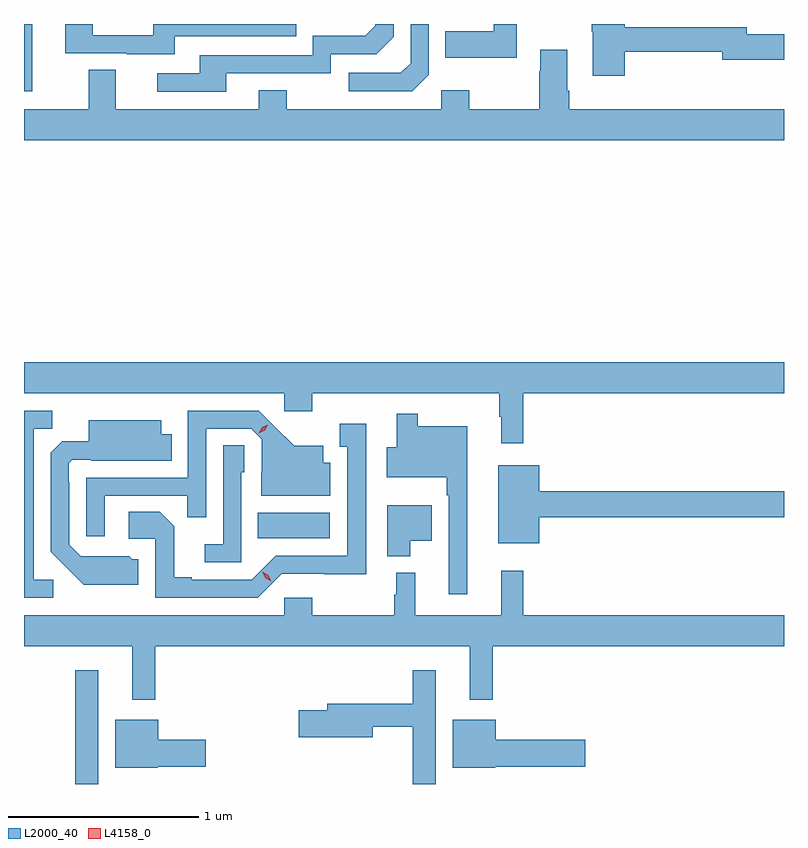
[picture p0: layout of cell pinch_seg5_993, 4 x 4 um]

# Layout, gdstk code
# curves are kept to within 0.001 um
import gdstk
lib = gdstk.Library(unit=1e-6, precision=1e-09)
def R(c, l, rs):  # rectangles x0, y0, x1, y1
    for r in rs: c.add(gdstk.rectangle(r[:2], r[2:], *l))
def P(c, l, *ps):  # polygons
    for p in ps: c.add(gdstk.Polygon(p, *l))
L2000_40 = (2000, 40)
L4158_0 = (4158, 0)

pinch_seg5_993 = lib.new_cell('pinch_seg5_993')
R(pinch_seg5_993, L2000_40, [(694.296,837.388,694.417,837.988), (695.254,838.682,695.635,838.816), (694.025,841.035,694.069,841.388)])
P(pinch_seg5_993, L2000_40, [(697.187,841.242),(697.7,841.242),(697.7,841.199),(698.025,841.199),(698.025,841.334),(697.828,841.334),(697.828,841.37),(697.187,841.37),(697.187,841.388),(697.012,841.388),(697.012,841.347),(697.019,841.347),(697.019,841.116),(697.187,841.116)],
  [(696.156,841.122),(696.156,841.388),(696.06,841.388),(696.06,841.182),(696.009,841.131),(695.733,841.131),(695.733,841.035),(696.069,841.035)],
  [(696.619,841.388),(696.498,841.388),(696.498,841.351),(696.241,841.351),(696.241,841.211),(696.619,841.211)],
  [(694.819,841.323),(695.459,841.323),(695.459,841.388),(694.704,841.388),(694.704,841.329),(694.386,841.329),(694.386,841.388),(694.241,841.388),(694.241,841.233),(694.565,841.233),(694.565,841.229),(694.819,841.229)],
  [(695.089,841.128),(695.64,841.128),(695.64,841.23),(695.88,841.23),(695.97,841.32),(695.97,841.388),(695.874,841.388),(695.874,841.38),(695.821,841.327),(695.544,841.327),(695.544,841.224),(694.949,841.224),(694.949,841.128),(694.725,841.128),(694.725,841.032),(695.089,841.032)],
  [(698.025,840.94),(696.896,840.94),(696.896,841.036),(696.883,841.036),(696.883,841.252),(696.743,841.252),(696.743,841.139),(696.736,841.139),(696.736,840.94),(696.369,840.94),(696.369,841.039),(696.222,841.039),(696.222,840.94),(695.409,840.94),(695.409,841.039),(695.261,841.039),(695.261,840.94),(694.507,840.94),(694.507,841.148),(694.367,841.148),(694.367,840.94),(694.025,840.94),(694.025,840.776),(698.025,840.776)],
  [(696.653,839.444),(698.025,839.444),(698.025,839.608),(694.025,839.608),(694.025,839.444),(695.394,839.444),(695.394,839.349),(695.541,839.349),(695.541,839.444),(696.525,839.444),(696.525,839.321),(696.536,839.321),(696.536,839.181),(696.653,839.181)],
  [(694.18,838.464),(694.077,838.464),(694.077,839.257),(694.173,839.257),(694.173,839.352),(694.025,839.352),(694.025,838.368),(694.18,838.368)],
  [(694.449,838.905),(694.885,838.905),(694.885,838.792),(694.983,838.792),(694.983,839.259),(695.22,839.259),(695.277,839.202),(695.277,839.028),(695.273,839.028),(695.273,838.904),(695.638,838.904),(695.638,839.08),(695.599,839.08),(695.599,839.167),(695.447,839.167),(695.26,839.352),(694.887,839.352),(694.887,839.001),(694.353,839.001),(694.353,838.692),(694.449,838.692)],
  [(696.358,839.272),(696.097,839.272),(696.097,839.338),(695.987,839.338),(695.987,839.161),(695.934,839.161),(695.934,839.003),(696.249,839.003),(696.249,838.907),(696.261,838.907),(696.261,838.386),(696.358,838.386)],
  [(694.627,838.572),(694.596,838.572),(694.58,838.588),(694.323,838.587),(694.263,838.647),(694.263,838.976),(694.26,838.976),(694.26,839.076),(694.278,839.094),(694.378,839.094),(694.378,839.09),(694.802,839.09),(694.802,839.23),(694.747,839.23),(694.747,839.302),(694.367,839.302),(694.367,839.191),(694.226,839.191),(694.167,839.132),(694.167,838.61),(694.339,838.436),(694.627,838.436)],
  [(695.382,838.494),(695.827,838.493),(695.827,839.284),(695.687,839.284),(695.687,839.163),(695.726,839.163),(695.726,838.59),(695.349,838.59),(695.223,838.464),(694.909,838.464),(694.909,838.477),(694.815,838.477),(694.815,838.744),(694.739,838.82),(694.575,838.82),(694.575,838.68),(694.716,838.68),(694.716,838.368),(695.256,838.368)],
  [(695.169,839.028),(695.184,839.028),(695.184,839.171),(695.073,839.171),(695.073,838.651),(694.977,838.651),(694.977,838.554),(695.169,838.554)],
  [(696.736,838.792),(698.025,838.792),(698.025,838.928),(696.736,838.928),(696.736,839.065),(696.521,839.065),(696.521,838.655),(696.736,838.655)],
  [(696.058,838.667),(696.172,838.667),(696.172,838.855),(695.936,838.855),(695.936,838.586),(696.058,838.586)],
  [(694.717,838.112),(696.371,838.112),(696.371,837.831),(696.493,837.831),(696.493,838.112),(698.025,838.112),(698.025,838.276),(696.653,838.276),(696.653,838.51),(696.536,838.51),(696.536,838.276),(696.083,838.276),(696.083,838.501),(695.984,838.501),(695.984,838.383),(695.973,838.383),(695.973,838.276),(695.541,838.276),(695.541,838.369),(695.394,838.369),(695.394,838.276),(694.025,838.276),(694.025,838.112),(694.595,838.112),(694.595,837.831),(694.717,837.831)],
  [(696.193,837.988),(696.072,837.988),(696.072,837.811),(695.621,837.811),(695.621,837.777),(695.472,837.777),(695.472,837.635),(695.86,837.635),(695.86,837.69),(696.072,837.69),(696.072,837.388),(696.193,837.388)],
  [(696.504,837.479),(696.979,837.479),(696.979,837.621),(696.508,837.621),(696.508,837.727),(696.281,837.727),(696.281,837.473),(696.504,837.473)],
  [(694.728,837.479),(694.981,837.479),(694.981,837.621),(694.732,837.621),(694.732,837.727),(694.505,837.727),(694.505,837.473),(694.728,837.473)])
P(pinch_seg5_993, L4158_0, [(695.327,838.454),(695.296,838.473),(695.278,838.505),(695.278,838.506),(695.278,838.506),(695.31,838.487),(695.327,838.454),(695.327,838.454)],
  [(695.261,839.235),(695.261,839.235),(695.278,839.265),(695.309,839.28),(695.309,839.28),(695.309,839.279),(695.292,839.25),(695.261,839.235)])

lib.write_gds('pinch_seg5_993.gds')
